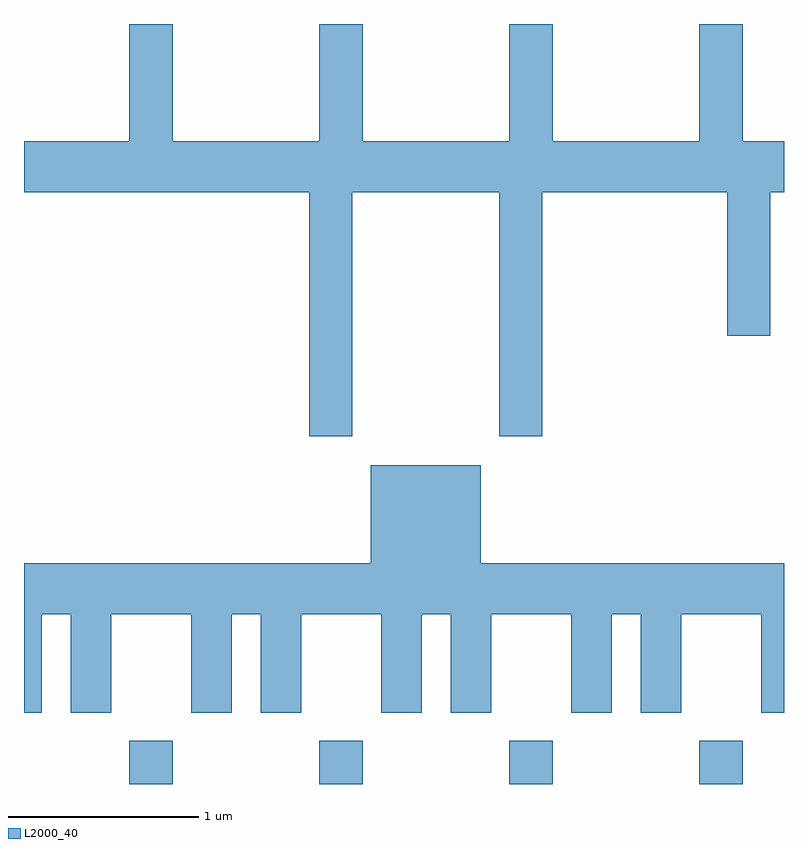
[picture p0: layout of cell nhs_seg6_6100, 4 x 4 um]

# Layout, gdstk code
import gdstk
lib = gdstk.Library(unit=1e-6, precision=1e-09)
def R(c, l, rs):  # rectangles x0, y0, x1, y1
    for r in rs: c.add(gdstk.rectangle(r[:2], r[2:], *l))
def A(c, l, x, y, w, h, nx, ny, dx, dy):  # array of equal rectangles
    R(c, l, [(x+i*dx, y+j*dy, x+i*dx+w, y+j*dy+h) for i in range(nx) for j in range(ny)])
def P(c, l, *ps):  # polygons
    for p in ps: c.add(gdstk.Polygon(p, *l))
L2000_40 = (2000, 40)

nhs_seg6_6100 = lib.new_cell('nhs_seg6_6100')
A(nhs_seg6_6100, L2000_40, 370.166, 1640.162, 0.228, 0.227, 4, 1, 1, 0)
P(nhs_seg6_6100, L2000_40, [(371.339,1643.276),(372.111,1643.276),(372.111,1641.991),(372.339,1641.991),(372.339,1643.276),(373.311,1643.276),(373.311,1642.521),(373.539,1642.521),(373.539,1643.276),(373.611,1643.276),(373.611,1643.544),(373.394,1643.544),(373.394,1644.162),(373.166,1644.162),(373.166,1643.544),(372.394,1643.544),(372.394,1644.162),(372.166,1644.162),(372.166,1643.544),(371.394,1643.544),(371.394,1644.162),(371.166,1644.162),(371.166,1643.544),(370.394,1643.544),(370.394,1644.162),(370.166,1644.162),(370.166,1643.544),(369.611,1643.544),(369.611,1643.276),(371.111,1643.276),(371.111,1641.991),(371.339,1641.991)],
  [(369.704,1641.056),(369.856,1641.056),(369.856,1640.536),(370.069,1640.536),(370.069,1641.056),(370.491,1641.056),(370.491,1640.536),(370.704,1640.536),(370.704,1641.056),(370.856,1641.056),(370.856,1640.536),(371.069,1640.536),(371.069,1641.056),(371.491,1641.056),(371.491,1640.536),(371.704,1640.536),(371.704,1641.056),(371.856,1641.056),(371.856,1640.536),(372.069,1640.536),(372.069,1641.056),(372.491,1641.056),(372.491,1640.536),(372.704,1640.536),(372.704,1641.056),(372.856,1641.056),(372.856,1640.536),(373.069,1640.536),(373.069,1641.056),(373.491,1641.056),(373.491,1640.536),(373.611,1640.536),(373.611,1641.324),(372.014,1641.324),(372.014,1641.839),(371.436,1641.839),(371.436,1641.324),(369.611,1641.324),(369.611,1640.536),(369.704,1640.536)])

lib.write_gds('nhs_seg6_6100.gds')
